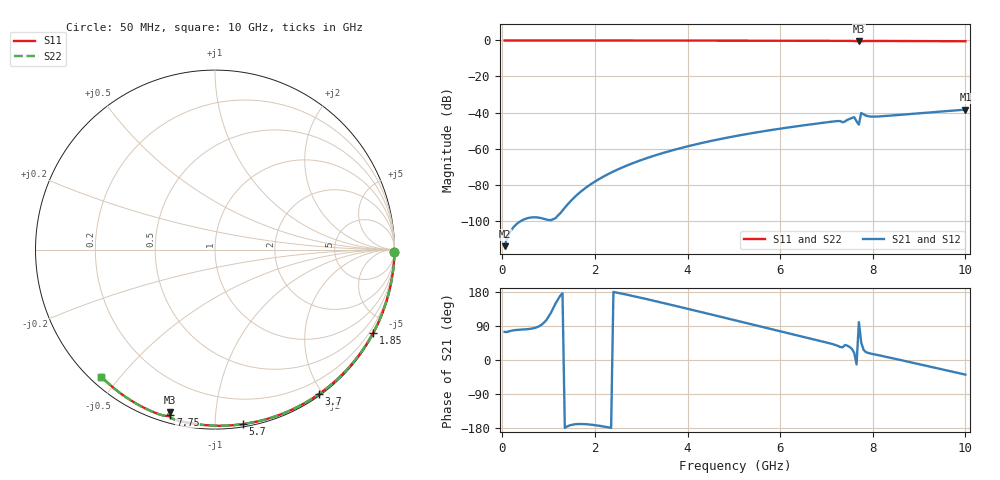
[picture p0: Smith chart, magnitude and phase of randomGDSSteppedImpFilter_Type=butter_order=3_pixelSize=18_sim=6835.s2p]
! freq	dB(S11)	phase(S11)	dB(S12)	phase(S12)
!  dB(S21)	phase(S21)	dB(S22)	phase(S22)
!S-par simulation data
#  GHz  S  DB  R 50
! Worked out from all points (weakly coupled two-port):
!   200 points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, 50 MHz to 10 GHz, reference 50 ohm
!   highest |S21| = -38.40 dB at 10 GHz (marker M1); lowest = -114.2 dB at 50 MHz (marker M2)
!   lowest |S11| = -0.5 dB at 7.7 GHz (marker M3), VSWR 33.16, Z = 2.38 - j37.9 ohm
!   |S11| at or under -10 dB: nowhere
!   |S22| runs from -0.5 to 0.0 dB; largest |S21 - S12| = 0
!   S11 on the Smith chart (normalised r, x): 50 MHz: open; 1.85 GHz: 0.04, -4.05; 3.7 GHz: 0.02, -1.95; 5.7 GHz: 0.02, -1.17; 7.75 GHz: 0.04, -0.77; 10 GHz: 0.03, -0.45
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0.05  -0.00 -0.8  -114.15 74.2  -114.15 74.2  -0.00 -0.8
0.9  -0.02 -13.6  -99.02 98.6  -99.02 98.6  -0.02 -13.6
1.75  -0.03 -26.3  -82.77 -169.0  -82.77 -169.0  -0.03 -26.3
1.85  -0.04 -27.8  -80.86 -169.8  -80.86 -169.8  -0.04 -27.8
1.9  -0.04 -28.5  -79.98 -170.4  -79.98 -170.4  -0.04 -28.5
2.25  -0.04 -33.6  -74.63 -176.9  -74.63 -176.9  -0.04 -33.6
2.65  -0.05 -39.4  -69.83 173.4  -69.83 173.4  -0.05 -39.4
3.4  -0.07 -50.1  -62.99 152.7  -62.99 152.7  -0.07 -50.1
3.7  -0.07 -54.2  -60.77 144.0  -60.77 144.0  -0.07 -54.2
4.35  -0.09 -63.1  -56.65 124.9  -56.65 124.9  -0.09 -63.1
5.05  -0.11 -72.5  -52.99 104.1  -52.99 104.1  -0.11 -72.5
5.7  -0.13 -80.9  -50.13 84.9  -50.13 84.9  -0.13 -80.9
6.7  -0.18 -93.4  -46.44 55.4  -46.44 55.4  -0.18 -93.4
7.25  -0.22 -100.3  -44.71 37.1  -44.71 37.1  -0.22 -100.3
7.35  -0.23 -101.5  -45.40 33.6  -45.40 33.6  -0.23 -101.5
7.6  -0.29 -105.0  -42.61 18.7  -42.61 18.7  -0.31 -105.1
7.7  -0.52 -105.5  -46.69 99.9  -46.69 99.9  -0.51 -105.0
7.75  -0.43 -105.1  -40.24 46.6  -40.24 46.6  -0.39 -105.1
7.85  -0.30 -106.5  -41.69 21.0  -41.69 21.0  -0.29 -106.5
7.95  -0.28 -107.9  -42.22 17.0  -42.22 17.0  -0.28 -107.9
8.35  -0.29 -112.8  -41.76 6.7  -41.76 6.7  -0.29 -112.8
10  -0.45 -131.8  -38.40 -38.6  -38.40 -38.6  -0.45 -131.8
